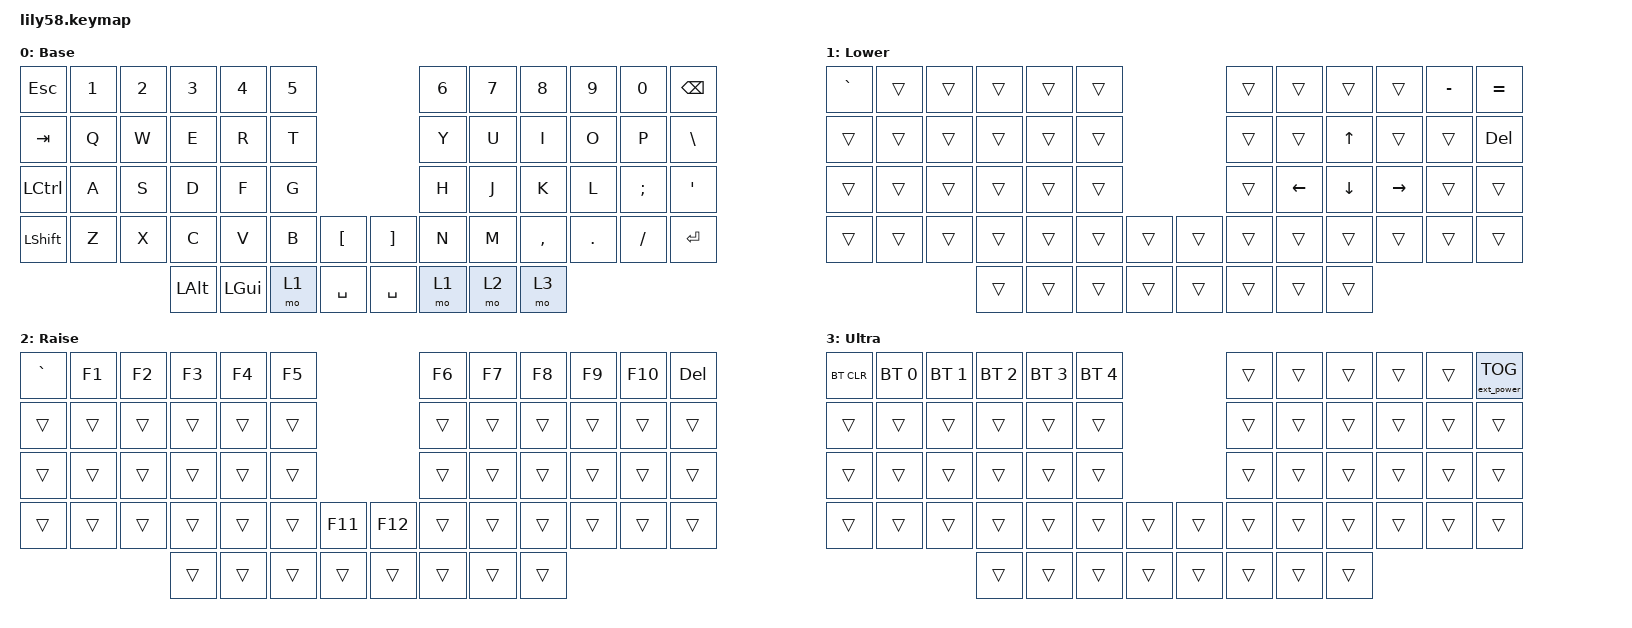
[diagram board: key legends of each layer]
/*
 * Lily58 ZMK keymap
 *
 * Layers:
 *   0 default_layer (Base)
 *   1 lower_layer   (Lower)
 *   2 raise_layer   (Raise)
 *   3 ultra_layer
 */

#include <behaviors.dtsi>
#include <dt-bindings/zmk/bt.h>
#include <dt-bindings/zmk/ext_power.h>
#include <dt-bindings/zmk/keys.h>

#define BASE  0
#define LOWER 1
#define RAISE 2
#define ULTRA 3

/ {
    keymap {
        compatible = "zmk,keymap";

        default_layer {
            display-name = "Base";

            // ------------------------------------------------------------------------------------------------------------
            // |  ESC  |  1  |  2  |  3   |  4   |  5   |                   |  6   |  7    |  8    |  9   |   0   | BSPC  |
            // |  TAB  |  Q  |  W  |  E   |  R   |  T   |                   |  Y   |  U    |  I    |  O   |   P   |   \   |
            // | SHIFT |  A  |  S  |  D   |  F   |  G   |                   |  H   |  J    |  K    |  L   |   ;   |   '   |
            // | CTRL  |  Z  |  X  |  C   |  V   |  B   |   [   |   |   ]   |  N   |  M    |  ,    |  .   |   /   | ENTER |
            //                     | ALT  | GUI  | RAISE| SPACE |   | SPACE | LOWER| RAISE | ULTRA |

            bindings = <
&kp ESC     &kp N1  &kp N2  &kp N3    &kp N4    &kp N5                          &kp N6  &kp N7  &kp N8     &kp N9   &kp N0    &kp BSPC
&kp TAB     &kp Q   &kp W   &kp E     &kp R     &kp T                           &kp Y   &kp U   &kp I      &kp O    &kp P     &kp BSLH
&kp LCTRL   &kp A   &kp S   &kp D     &kp F     &kp G                           &kp H   &kp J   &kp K      &kp L    &kp SEMI  &kp SQT
&kp LSHIFT  &kp Z   &kp X   &kp C     &kp V     &kp B   &kp LBKT     &kp RBKT   &kp N   &kp M   &kp COMMA  &kp DOT  &kp FSLH  &kp RET
                            &kp LALT  &kp LGUI  &mo 1   &kp SPACE    &kp SPACE  &mo 1   &mo 2   &mo 3
            >;
        };

        lower_layer {
            display-name = "Lower";

            // ------------------------------------------------------------------------------------------------------------
            // |   `   |     |     |      |      |      |                   |      |       |       |  -   |   =   | DEL   |
            // |       |     |     |      |      |      |                   |      |       |  UP   |      |       |       |
            // |       |     |     |      |      |      |                   |      | LEFT  | DOWN  |RIGHT |       |       |
            // |       |     |     |      |      |      |       |   |       |      |       |       |      |       |       |
            //                     |      |      |      |       |   |       |      |       |       |

            bindings = <
&kp GRAVE  &trans  &trans  &trans  &trans  &trans                    &trans  &trans    &trans    &trans     &kp MINUS  &kp EQUAL
&trans     &trans  &trans  &trans  &trans  &trans                    &trans  &trans    &kp UP    &trans     &trans     &kp DEL
&trans     &trans  &trans  &trans  &trans  &trans                    &trans  &kp LEFT  &kp DOWN  &kp RIGHT  &trans     &trans
&trans     &trans  &trans  &trans  &trans  &trans  &trans    &trans  &trans  &trans    &trans    &trans     &trans     &trans
                           &trans  &trans  &trans  &trans    &trans  &trans  &trans    &trans
            >;
        };

        raise_layer {
            display-name = "Raise";

            // ------------------------------------------------------------------------------------------------------------
            // |   `   | F1  | F2  | F3   | F4   | F5   |                   | F6   | F7    | F8    | F9   |  F10  | DEL   |
            // |       |     |     |      |      |      |                   |      |       |       |      |       |       |
            // |       |     |     |      |      |      |                   |      |       |       |      |       |       |
            // |       |     |     |      |      |      |  F11  |   |  F12  |      |       |       |      |       |       |
            //                     |      |      |      |       |   |       |      |       |       |

            bindings = <
&kp GRAVE  &kp F1  &kp F2  &kp F3  &kp F4  &kp F5                      &kp F6  &kp F7  &kp F8  &kp F9  &kp F10  &kp DEL
&trans     &trans  &trans  &trans  &trans  &trans                      &trans  &trans  &trans  &trans  &trans   &trans
&trans     &trans  &trans  &trans  &trans  &trans                      &trans  &trans  &trans  &trans  &trans   &trans
&trans     &trans  &trans  &trans  &trans  &trans  &kp F11    &kp F12  &trans  &trans  &trans  &trans  &trans   &trans
                           &trans  &trans  &trans  &trans     &trans   &trans  &trans  &trans
            >;
        };

        ultra_layer {
            display-name = "Ultra";

            // ------------------------------------------------------------------------------------------------------------
            // |BT_CLR |BT_1 |BT_2 | BT_3 | BT_4 |      |                   |      |       |       |      |       |       |
            // |       |     |     |      |      |      |                   |      |       |       |      |       |       |
            // |       |     |     |      |      |      |                   |      |       |       |      |       |       |
            // |       |     |     |      |      |      |       |   |       |      |       |       |      |       |       |
            //                     |      |      |      |       |   |       |      |       |       |

            bindings = <
&bt BT_CLR  &bt BT_SEL 0  &bt BT_SEL 1  &bt BT_SEL 2  &bt BT_SEL 3  &bt BT_SEL 4                    &trans  &trans  &trans  &trans  &trans  &ext_power EP_TOG
&trans      &trans        &trans        &trans        &trans        &trans                          &trans  &trans  &trans  &trans  &trans  &trans
&trans      &trans        &trans        &trans        &trans        &trans                          &trans  &trans  &trans  &trans  &trans  &trans
&trans      &trans        &trans        &trans        &trans        &trans        &trans    &trans  &trans  &trans  &trans  &trans  &trans  &trans
                                        &trans        &trans        &trans        &trans    &trans  &trans  &trans  &trans
            >;
        };
    };
};
